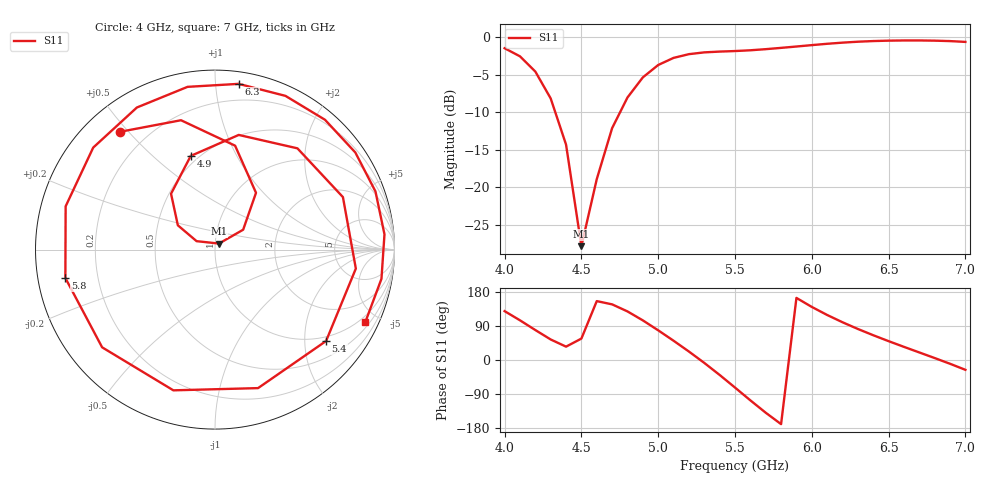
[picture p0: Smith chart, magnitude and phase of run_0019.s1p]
! Touchstone file exported from HFSS 2024.2.0
!  File:  C:/Users/wsak9/Desktop/Sim Fast/Widenad Patch/WP_AI_V1_sweep.aedt
!  Generated:  03:31:56 PM Oct 13, 2026
!  Design:  A1_model
!  Project:  WP_AI_V1_sweep
!  Setup:  Setup1
!  Solution:  Sweep
! Variables:
!  Air_gap = 3.66mm
!  Curve_Amp1 = 2.53
!  Curve_len1 = 1
!  Curve_pos = 12.855mm
!  Extra = 2.68mm
!  H_sub = 0.79mm
!  L_Patch = 21.71mm
!  L_Patch1 = 17.96mm
!  Sx = 3.8mm
!  Sy = 1.14mm
!  WS = 1.28mm
!  W_Patch = 12.41mm
!  W_Patch1 = 15.28mm
!Data is not renormalized
# GHz S MA
! Terminal data exported
! Port[1] = 1
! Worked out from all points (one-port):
!   31 points, 4 GHz to 7 GHz, reference per port
!   lowest |S11| = -27.9 dB at 4.5 GHz (marker M1), VSWR 1.08
!   |S11| at or under -10 dB: 4.33 GHz to 4.752 GHz (422.6 MHz wide, 9.31 % of centre)
!   S11 on the Smith chart (normalised r, x): 4 GHz: 0.10, +0.47; 4.9 GHz: 0.45, +0.67; 5.4 GHz: 0.88, -2.52; 5.8 GHz: 0.08, -0.09; 6.3 GHz: 0.08, +1.15; 7 GHz: 0.71, -4.24
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4  0.8438 129.0
4.1  0.7452 104.7
4.2  0.5897 79.1
4.3  0.3903 54.2
4.4  0.192 35.2
4.5  0.04032 56.5
4.6  0.1129 155.4
4.7  0.2472 146.8
4.8  0.396 128.2
4.9  0.5392 104.5
5  0.6524 78.3
5.1  0.7275 50.8
5.2  0.7704 22.3
5.3  0.7918 -7.7
5.4  0.8015 -39.4
5.5  0.8081 -72.7
5.6  0.8177 -106.5
5.7  0.8318 -139.1
5.8  0.8485 -169.2
5.9  0.8664 163.9
6  0.8852 140.0
6.1  0.9035 118.8
6.2  0.9196 99.6
6.3  0.9327 81.9
6.5  0.948 49.7
6.7  0.9509 19.9
6.9  0.9416 -10.0
7  0.93 -25.9
